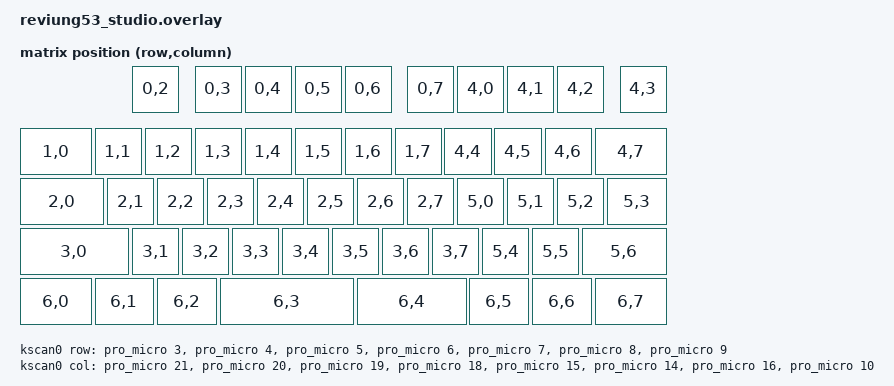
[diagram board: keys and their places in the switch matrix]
/*
 * REVIUNG53 (Studio) — local shield, ZMK Studio ready.
 *
 * Copied from the in-tree reviung53 shield, with two changes required by
 * ZMK Studio:
 *   1. The chosen node sets zmk,physical-layout instead of zmk,matrix-transform
 *      (Studio's build check requires that NO zmk,matrix-transform is chosen).
 *   2. A zmk,physical-layout node with a populated `keys` property is added.
 *
 * SPDX-License-Identifier: MIT
 */

#include <dt-bindings/zmk/matrix_transform.h>
#include <physical_layouts.dtsi>

/ {
    chosen {
        zmk,kscan = &kscan0;
        zmk,physical-layout = &reviung53_physical_layout;
        /* No zmk,matrix-transform here — the transform is attached to the
           physical layout node below instead. */
    };

    default_transform: keymap_transform_0 {
        compatible = "zmk,matrix-transform";
        columns = <8>;
        rows = <7>;

        map = <
                RC(0,2) RC(0,3) RC(0,4) RC(0,5) RC(0,6) RC(0,7) RC(4,0) RC(4,1) RC(4,2) RC(4,3)
RC(1,0) RC(1,1) RC(1,2) RC(1,3) RC(1,4) RC(1,5) RC(1,6) RC(1,7) RC(4,4) RC(4,5) RC(4,6) RC(4,7)
RC(2,0) RC(2,1) RC(2,2) RC(2,3) RC(2,4) RC(2,5) RC(2,6) RC(2,7) RC(5,0) RC(5,1) RC(5,2) RC(5,3)
RC(3,0) RC(3,1) RC(3,2) RC(3,3) RC(3,4) RC(3,5) RC(3,6) RC(3,7) RC(5,4) RC(5,5)         RC(5,6)
RC(6,0) RC(6,1) RC(6,2)      RC(6,3)         RC(6,4)                    RC(6,5) RC(6,6) RC(6,7)
        >;
    };

    kscan0: kscan_0 {
        compatible = "zmk,kscan-gpio-matrix";
        wakeup-source;

        diode-direction = "col2row";

        col-gpios
            = <&pro_micro 21 GPIO_ACTIVE_HIGH>
            , <&pro_micro 20 GPIO_ACTIVE_HIGH>
            , <&pro_micro 19 GPIO_ACTIVE_HIGH>
            , <&pro_micro 18 GPIO_ACTIVE_HIGH>
            , <&pro_micro 15 GPIO_ACTIVE_HIGH>
            , <&pro_micro 14 GPIO_ACTIVE_HIGH>
            , <&pro_micro 16 GPIO_ACTIVE_HIGH>
            , <&pro_micro 10 GPIO_ACTIVE_HIGH>
            ;

        row-gpios
            = <&pro_micro 3 (GPIO_ACTIVE_HIGH | GPIO_PULL_DOWN)>
            , <&pro_micro 4 (GPIO_ACTIVE_HIGH | GPIO_PULL_DOWN)>
            , <&pro_micro 5 (GPIO_ACTIVE_HIGH | GPIO_PULL_DOWN)>
            , <&pro_micro 6 (GPIO_ACTIVE_HIGH | GPIO_PULL_DOWN)>
            , <&pro_micro 7 (GPIO_ACTIVE_HIGH | GPIO_PULL_DOWN)>
            , <&pro_micro 8 (GPIO_ACTIVE_HIGH | GPIO_PULL_DOWN)>
            , <&pro_micro 9 (GPIO_ACTIVE_HIGH | GPIO_PULL_DOWN)>
            ;
    };

    reviung53_physical_layout: reviung53_physical_layout {
        compatible = "zmk,physical-layout";
        display-name = "REVIUNG53";

        transform = <&default_transform>;
        kscan = <&kscan0>;

        keys
            //                    w   h    x    y  rot rx ry
            = <&key_physical_attrs 100 100  225    0   0  0  0>
            , <&key_physical_attrs 100 100  350    0   0  0  0>
            , <&key_physical_attrs 100 100  450    0   0  0  0>
            , <&key_physical_attrs 100 100  550    0   0  0  0>
            , <&key_physical_attrs 100 100  650    0   0  0  0>
            , <&key_physical_attrs 100 100  775    0   0  0  0>
            , <&key_physical_attrs 100 100  875    0   0  0  0>
            , <&key_physical_attrs 100 100  975    0   0  0  0>
            , <&key_physical_attrs 100 100 1075    0   0  0  0>
            , <&key_physical_attrs 100 100 1200    0   0  0  0>
            , <&key_physical_attrs 150 100    0  125   0  0  0>
            , <&key_physical_attrs 100 100  150  125   0  0  0>
            , <&key_physical_attrs 100 100  250  125   0  0  0>
            , <&key_physical_attrs 100 100  350  125   0  0  0>
            , <&key_physical_attrs 100 100  450  125   0  0  0>
            , <&key_physical_attrs 100 100  550  125   0  0  0>
            , <&key_physical_attrs 100 100  650  125   0  0  0>
            , <&key_physical_attrs 100 100  750  125   0  0  0>
            , <&key_physical_attrs 100 100  850  125   0  0  0>
            , <&key_physical_attrs 100 100  950  125   0  0  0>
            , <&key_physical_attrs 100 100 1050  125   0  0  0>
            , <&key_physical_attrs 150 100 1150  125   0  0  0>
            , <&key_physical_attrs 175 100    0  225   0  0  0>
            , <&key_physical_attrs 100 100  175  225   0  0  0>
            , <&key_physical_attrs 100 100  275  225   0  0  0>
            , <&key_physical_attrs 100 100  375  225   0  0  0>
            , <&key_physical_attrs 100 100  475  225   0  0  0>
            , <&key_physical_attrs 100 100  575  225   0  0  0>
            , <&key_physical_attrs 100 100  675  225   0  0  0>
            , <&key_physical_attrs 100 100  775  225   0  0  0>
            , <&key_physical_attrs 100 100  875  225   0  0  0>
            , <&key_physical_attrs 100 100  975  225   0  0  0>
            , <&key_physical_attrs 100 100 1075  225   0  0  0>
            , <&key_physical_attrs 125 100 1175  225   0  0  0>
            , <&key_physical_attrs 225 100    0  325   0  0  0>
            , <&key_physical_attrs 100 100  225  325   0  0  0>
            , <&key_physical_attrs 100 100  325  325   0  0  0>
            , <&key_physical_attrs 100 100  425  325   0  0  0>
            , <&key_physical_attrs 100 100  525  325   0  0  0>
            , <&key_physical_attrs 100 100  625  325   0  0  0>
            , <&key_physical_attrs 100 100  725  325   0  0  0>
            , <&key_physical_attrs 100 100  825  325   0  0  0>
            , <&key_physical_attrs 100 100  925  325   0  0  0>
            , <&key_physical_attrs 100 100 1025  325   0  0  0>
            , <&key_physical_attrs 175 100 1125  325   0  0  0>
            , <&key_physical_attrs 150 100    0  425   0  0  0>
            , <&key_physical_attrs 125 100  150  425   0  0  0>
            , <&key_physical_attrs 125 100  275  425   0  0  0>
            , <&key_physical_attrs 275 100  400  425   0  0  0>
            , <&key_physical_attrs 225 100  675  425   0  0  0>
            , <&key_physical_attrs 125 100  900  425   0  0  0>
            , <&key_physical_attrs 125 100 1025  425   0  0  0>
            , <&key_physical_attrs 150 100 1150  425   0  0  0>
            ;
    };
};
